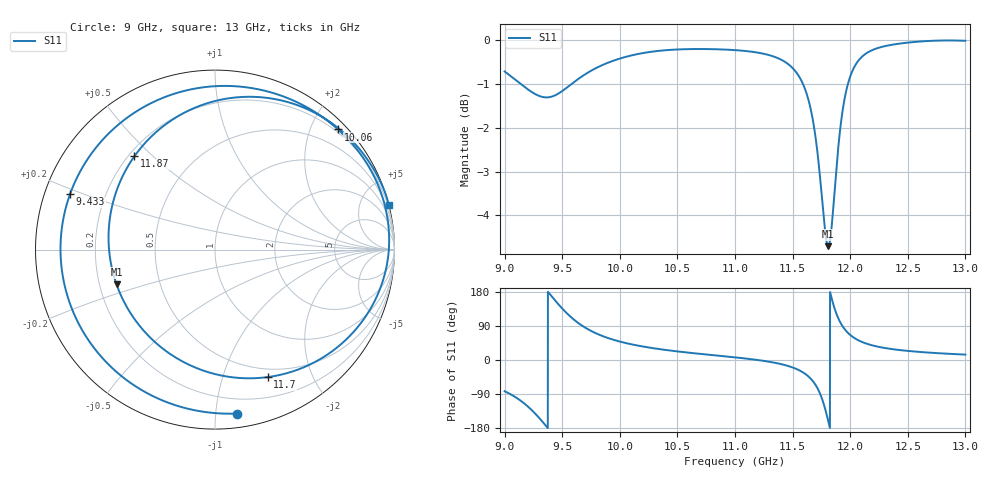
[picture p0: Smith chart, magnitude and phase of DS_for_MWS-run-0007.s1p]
! TOUCHSTONE file generated by CST DESIGN STUDIO
! Date and time: Tue Feb  4 13:58:11 2025
! Project name: C:\Work\MatlabApps\UnitCellOptimizationMatlab\CST\unitcell.cst
! Tree item: Tasks\Sweep1\SPara1\S-Parameters
! Header version: 2024
! Port assignment regex: !\s*Touchstone port\s*([0-9]+)\s*=\s*(CST MWS port|CST DES external port|CST DES block port)\s*(.+)\s* \(\"(.*)\"\)(\s*mode\s*([0-9]+))?.*
! Touchstone port assignment:
! Touchstone port 1 = CST DES external port 1 ("")
# GHz S MA R 50
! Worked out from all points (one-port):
!   4001 points, 9 GHz to 13 GHz, reference 50 ohm
!   lowest |S11| = -4.7 dB at 11.81 GHz (marker M1), VSWR 3.78, Z = 13.6 - j7.96 ohm
!   |S11| at or under -10 dB: nowhere
!   S11 on the Smith chart (normalised r, x): 9 GHz: 0.09, -1.14; 9.433 GHz: 0.07, +0.18; 10.06 GHz: 0.15, +2.45; 11.7 GHz: 0.41, -1.41; 11.87 GHz: 0.22, +0.44; 13 GHz: 0.03, +8.00
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9  0.9217 -82.4
9.124  0.8949 -104.1
9.221  0.8755 -128.0
9.337  0.8613 -165.8
9.433  0.8648 159.1
9.5  0.8752 135.9
9.581  0.8917 111.9
9.673  0.91 90.5
9.823  0.9339 66.5
10  0.9534 48.7
10.058  0.9582 44.3
10.5  0.9765 22.6
11  0.9749 7.0
11.301  0.9617 -4.8
11.5  0.9299 -19.7
11.619  0.8715 -38.8
11.703  0.7685 -67.6
11.759  0.6512 -105.3
11.809  0.5818 -160.5
11.838  0.6106 163.8
11.87  0.687 130.8
11.896  0.7535 110.5
11.924  0.8135 93.9
12  0.9093 66.1
12.074  0.9492 51.5
12.171  0.972 40.3
12.5  0.9943 24.0
13  0.9992 14.3
